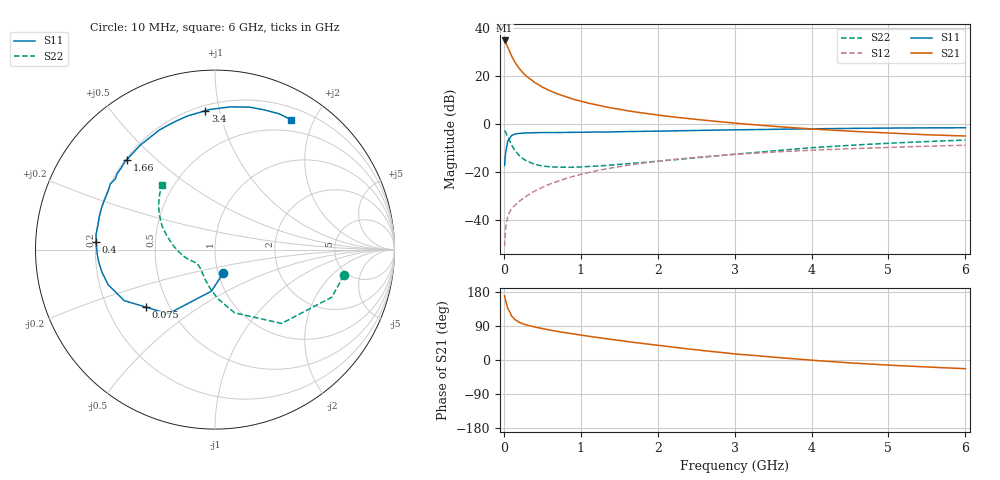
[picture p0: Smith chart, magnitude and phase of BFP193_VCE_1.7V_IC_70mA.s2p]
! Infineon Technologies  Discrete & RF Semiconductors
! BFP193
! VCE = 1.7 V,  IC =  70 mA
! Common Emitter S-Parameters:  Jan 2016
# GHz  S  MA  R  50
!  f  S11  S21  S12  S22
! GHz  MAG  ANG  MAG  ANG  MAG  ANG  MAG  ANG
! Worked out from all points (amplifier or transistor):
!   210 points, 10 MHz to 6 GHz, reference 50 ohm
!   highest |S21| = 34.8 dB at 10 MHz (marker M1)
!   |S21| within 3 dB of that: start of sweep to 54.29 MHz
!   unconditionally stable (mu >= 1): start of sweep to 15.33 MHz; 278.6 MHz to end of sweep
!   at 185 MHz: K = 0.87, MSG = 28.2 dB, |S12| = -32.6 dB
!   at 1.52 GHz: K = 1.15, MAG = 9.5 dB, |S12| = -17.6 dB
!   at 6 GHz: K = 1.01, MAG = 1.3 dB, |S12| = -8.8 dB
!   S11 on the Smith chart (normalised r, x): 10 MHz: 1.06, -0.28; 75 MHz: 0.37, -0.32; 400 MHz: 0.20, +0.03; 1.66 GHz: 0.21, +0.41; 3.4 GHz: 0.23, +0.90; 6 GHz: 0.35, +1.69
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0.01  0.1384 -71.0  54.78 169.2  0.0029 69.3  0.7318 -11.3
0.02  0.2324 -94.8  51.5 158.3  0.006 64.4  0.7025 -22.2
0.05  0.4432 -126.1  40.13 135.8  0.0119 60.8  0.5542 -47.9
0.075  0.5003 -140.1  32.55 128.0  0.0147 56.9  0.4515 -57.8
0.1  0.5804 -150.7  25.94 115.8  0.0175 54.3  0.3695 -72.7
0.15  0.6271 -161.9  18.49 105.6  0.021 54.9  0.2748 -86.5
0.2  0.6424 -168.8  14.27 99.5  0.0246 58.1  0.2231 -96.1
0.26  0.6522 -174.4  11.15 94.6  0.0292 60.0  0.1854 -104.9
0.3  0.6563 -177.4  9.678 91.9  0.0322 61.8  0.1708 -109.6
0.4  0.6639 176.4  7.334 87.0  0.0404 64.1  0.1463 -119.2
0.5  0.6681 172.6  5.878 82.8  0.0483 65.3  0.1344 -126.2
0.6  0.6655 168.3  4.918 78.8  0.0568 66.3  0.1298 -131.3
0.8  0.673 161.1  3.71 72.0  0.0734 65.5  0.1265 -139.0
1.02  0.6765 153.5  2.938 65.2  0.0919 64.1  0.1294 -144.9
1.3  0.6811 144.6  2.32 57.0  0.1149 61.1  0.1368 -150.8
1.66  0.7015 134.4  1.835 47.3  0.1432 56.8  0.1516 -157.8
2.02  0.716 125.0  1.528 38.4  0.1704 51.7  0.1704 -165.2
3.1  0.7626 99.7  1.015 14.5  0.2398 36.9  0.2435 171.7
3.4  0.7753 94.0  0.926 9.3  0.2563 33.2  0.2683 166.0
4.1  0.802 82.4  0.776 -2.0  0.2912 24.2  0.3307 154.3
5.1  0.827 69.4  0.641 -14.5  0.3316 12.7  0.4068 140.4
6  0.8383 59.8  0.565 -22.9  0.3647 2.7  0.4668 129.2
